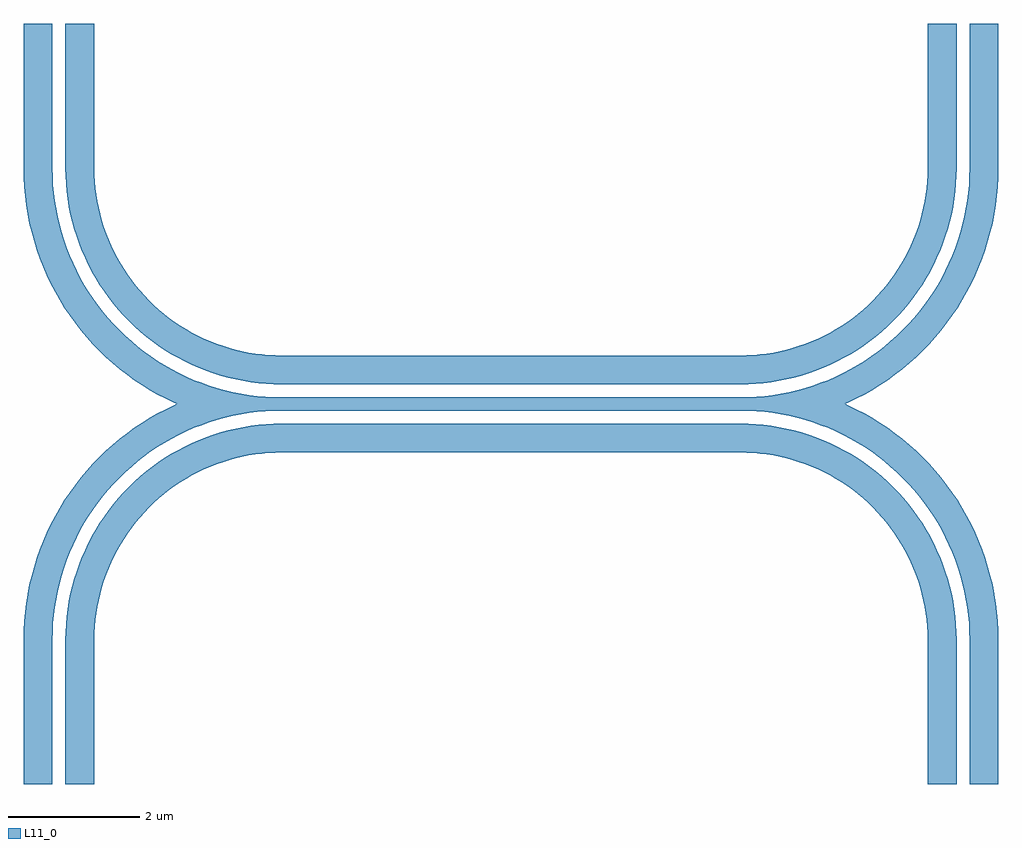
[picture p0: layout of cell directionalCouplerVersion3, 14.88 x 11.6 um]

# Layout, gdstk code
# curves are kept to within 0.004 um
import gdstk
lib = gdstk.Library(unit=1e-6, precision=1e-09)
def R(c, l, rs):  # rectangles x0, y0, x1, y1
    for r in rs: c.add(gdstk.rectangle(r[:2], r[2:], *l))
def P(c, l, *ps):  # polygons
    for p in ps: c.add(gdstk.Polygon(p, *l))
L11_0 = (11, 0)

directionalcouplerversio = lib.new_cell('directionalCouplerVersion3')
R(directionalcouplerversio, L11_0, [(-3.5,-0.1,3.5,0.1)])
P(directionalcouplerversio, L11_0, [(6.36,-5.8),(6.36,-3.6),(6.344,-3.294),(6.295,-2.992),(6.214,-2.697),(6.102,-2.412),(6.01,-2.229),(5.906,-2.054),(5.79,-1.886),(5.593,-1.651),(5.449,-1.507),(5.295,-1.373),(5.131,-1.251),(4.959,-1.14),(4.688,-0.998),(4.499,-0.92),(4.306,-0.856),(4.108,-0.805),(3.907,-0.769),(3.704,-0.747),(3.5,-0.74),(3.5,-0.3),(3.735,-0.308),(3.97,-0.334),(4.201,-0.375),(4.43,-0.434),(4.542,-0.469),(4.763,-0.551),(4.977,-0.649),(5.184,-0.762),(5.382,-0.889),(5.571,-1.03),(5.749,-1.185),(5.915,-1.351),(6.07,-1.529),(6.211,-1.718),(6.338,-1.916),(6.451,-2.123),(6.549,-2.337),(6.592,-2.447),(6.666,-2.67),(6.725,-2.899),(6.748,-3.014),(6.781,-3.247),(6.792,-3.365),(6.8,-3.6),(6.8,-5.8)],
  [(-6.8,-5.8),(-6.8,-3.6),(-6.792,-3.365),(-6.748,-3.014),(-6.697,-2.784),(-6.631,-2.558),(-6.549,-2.337),(-6.502,-2.229),(-6.396,-2.018),(-6.338,-1.916),(-6.211,-1.718),(-6.07,-1.529),(-5.915,-1.351),(-5.833,-1.267),(-5.749,-1.185),(-5.571,-1.03),(-5.382,-0.889),(-5.184,-0.762),(-5.082,-0.704),(-4.871,-0.598),(-4.763,-0.551),(-4.653,-0.508),(-4.43,-0.434),(-4.201,-0.375),(-4.086,-0.352),(-3.853,-0.319),(-3.618,-0.302),(3.5,-0.3),(3.5,-0.74),(-3.5,-0.74),(-3.5,-0.3),(-3.5,-0.74),(-3.704,-0.747),(-3.907,-0.769),(-4.108,-0.805),(-4.306,-0.856),(-4.499,-0.92),(-4.688,-0.998),(-4.959,-1.14),(-5.131,-1.251),(-5.295,-1.373),(-5.522,-1.578),(-5.727,-1.805),(-5.849,-1.969),(-5.96,-2.141),(-6.102,-2.412),(-6.214,-2.697),(-6.295,-2.992),(-6.344,-3.294),(-6.36,-3.6),(-6.36,-5.8)],
  [(-7.44,-5.8),(-7.44,-3.6),(-7.43,-3.319),(-7.4,-3.039),(-7.35,-2.762),(-7.318,-2.626),(-7.238,-2.356),(-7.14,-2.092),(-7.023,-1.836),(-6.958,-1.712),(-6.815,-1.47),(-6.654,-1.239),(-6.568,-1.128),(-6.384,-0.915),(-6.286,-0.814),(-6.08,-0.622),(-5.972,-0.532),(-5.747,-0.364),(-5.63,-0.285),(-5.388,-0.142),(-5.1,0),(-5.388,0.142),(-5.63,0.285),(-5.747,0.364),(-5.861,0.446),(-6.08,0.622),(-6.185,0.716),(-6.384,0.915),(-6.478,1.02),(-6.654,1.239),(-6.815,1.47),(-6.888,1.59),(-6.958,1.712),(-7.084,1.963),(-7.192,2.223),(-7.238,2.356),(-7.318,2.626),(-7.35,2.762),(-7.4,3.039),(-7.43,3.319),(-7.44,3.6),(-7.44,5.8),(-7,5.8),(-7,3.6),(-6.998,3.475),(-6.98,3.226),(-6.964,3.102),(-6.92,2.856),(-6.891,2.734),(-6.821,2.495),(-6.734,2.261),(-6.684,2.146),(-6.63,2.033),(-6.51,1.814),(-6.375,1.604),(-6.302,1.503),(-6.225,1.404),(-6.062,1.215),(-5.885,1.038),(-5.792,0.955),(-5.597,0.798),(-5.392,0.656),(-5.177,0.528),(-4.954,0.416),(-4.723,0.321),(-4.486,0.242),(-4.244,0.18),(-3.998,0.136),(-3.75,0.109),(-3.5,0.1),(-3.5,-0.1),(-3.625,-0.102),(-3.874,-0.12),(-3.998,-0.136),(-4.244,-0.18),(-4.366,-0.209),(-4.605,-0.279),(-4.839,-0.366),(-5.067,-0.47),(-5.286,-0.59),(-5.496,-0.725),(-5.597,-0.798),(-5.792,-0.955),(-5.885,-1.038),(-6.062,-1.215),(-6.225,-1.404),(-6.375,-1.604),(-6.51,-1.814),(-6.572,-1.923),(-6.63,-2.033),(-6.734,-2.261),(-6.821,-2.495),(-6.891,-2.734),(-6.92,-2.856),(-6.964,-3.102),(-6.991,-3.35),(-7,-3.6),(-7,-5.8)],
  [(-3.5,0.3),(-3.735,0.308),(-3.97,0.334),(-4.201,0.375),(-4.43,0.434),(-4.542,0.469),(-4.763,0.551),(-4.977,0.649),(-5.184,0.762),(-5.382,0.889),(-5.571,1.03),(-5.749,1.185),(-5.833,1.267),(-5.915,1.351),(-6.07,1.529),(-6.211,1.718),(-6.338,1.916),(-6.396,2.018),(-6.502,2.229),(-6.549,2.337),(-6.631,2.558),(-6.725,2.899),(-6.748,3.014),(-6.781,3.247),(-6.792,3.365),(-6.8,3.6),(-6.8,5.8),(-6.36,5.8),(-6.36,3.6),(-6.344,3.294),(-6.295,2.992),(-6.214,2.697),(-6.102,2.412),(-5.96,2.141),(-5.849,1.969),(-5.727,1.805),(-5.522,1.578),(-5.295,1.373),(-5.131,1.251),(-4.959,1.14),(-4.688,0.998),(-4.499,0.92),(-4.306,0.856),(-4.108,0.805),(-3.907,0.769),(-3.704,0.747),(-3.5,0.74),(-3.5,0.3),(-3.5,0.74),(3.5,0.74),(3.5,0.3)],
  [(3.5,0.3),(3.5,0.74),(3.704,0.747),(3.907,0.769),(4.108,0.805),(4.306,0.856),(4.499,0.92),(4.688,0.998),(4.959,1.14),(5.131,1.251),(5.295,1.373),(5.522,1.578),(5.727,1.805),(5.849,1.969),(5.96,2.141),(6.102,2.412),(6.214,2.697),(6.295,2.992),(6.344,3.294),(6.36,3.6),(6.36,5.8),(6.8,5.8),(6.8,3.6),(6.792,3.365),(6.781,3.247),(6.748,3.014),(6.725,2.899),(6.631,2.558),(6.549,2.337),(6.502,2.229),(6.396,2.018),(6.338,1.916),(6.211,1.718),(6.07,1.529),(5.915,1.351),(5.833,1.267),(5.749,1.185),(5.571,1.03),(5.382,0.889),(5.184,0.762),(4.977,0.649),(4.763,0.551),(4.653,0.508),(4.43,0.434),(4.201,0.375),(3.97,0.334),(3.735,0.308)],
  [(7,-5.8),(7,-3.6),(6.998,-3.475),(6.98,-3.226),(6.964,-3.102),(6.92,-2.856),(6.891,-2.734),(6.821,-2.495),(6.734,-2.261),(6.684,-2.146),(6.63,-2.033),(6.51,-1.814),(6.375,-1.604),(6.302,-1.503),(6.225,-1.404),(6.062,-1.215),(5.885,-1.038),(5.792,-0.955),(5.597,-0.798),(5.392,-0.656),(5.177,-0.528),(4.954,-0.416),(4.723,-0.321),(4.486,-0.242),(4.244,-0.18),(3.998,-0.136),(3.75,-0.109),(3.5,-0.1),(3.5,0.1),(3.625,0.102),(3.874,0.12),(3.998,0.136),(4.244,0.18),(4.366,0.209),(4.605,0.279),(4.839,0.366),(5.067,0.47),(5.286,0.59),(5.496,0.725),(5.597,0.798),(5.792,0.955),(5.885,1.038),(6.062,1.215),(6.225,1.404),(6.375,1.604),(6.51,1.814),(6.572,1.923),(6.63,2.033),(6.734,2.261),(6.821,2.495),(6.891,2.734),(6.92,2.856),(6.964,3.102),(6.991,3.35),(7,3.6),(7,5.8),(7.44,5.8),(7.44,3.6),(7.43,3.319),(7.4,3.039),(7.35,2.762),(7.318,2.626),(7.238,2.356),(7.14,2.092),(7.023,1.836),(6.958,1.712),(6.815,1.47),(6.654,1.239),(6.568,1.128),(6.384,0.915),(6.286,0.814),(6.08,0.622),(5.972,0.532),(5.747,0.364),(5.63,0.285),(5.388,0.142),(5.1,0),(5.388,-0.142),(5.63,-0.285),(5.747,-0.364),(5.861,-0.446),(6.08,-0.622),(6.185,-0.716),(6.384,-0.915),(6.478,-1.02),(6.654,-1.239),(6.815,-1.47),(6.888,-1.59),(6.958,-1.712),(7.084,-1.963),(7.192,-2.223),(7.238,-2.356),(7.318,-2.626),(7.35,-2.762),(7.4,-3.039),(7.43,-3.319),(7.44,-3.6),(7.44,-5.8)])

lib.write_gds('directionalCouplerVersion3.gds')
